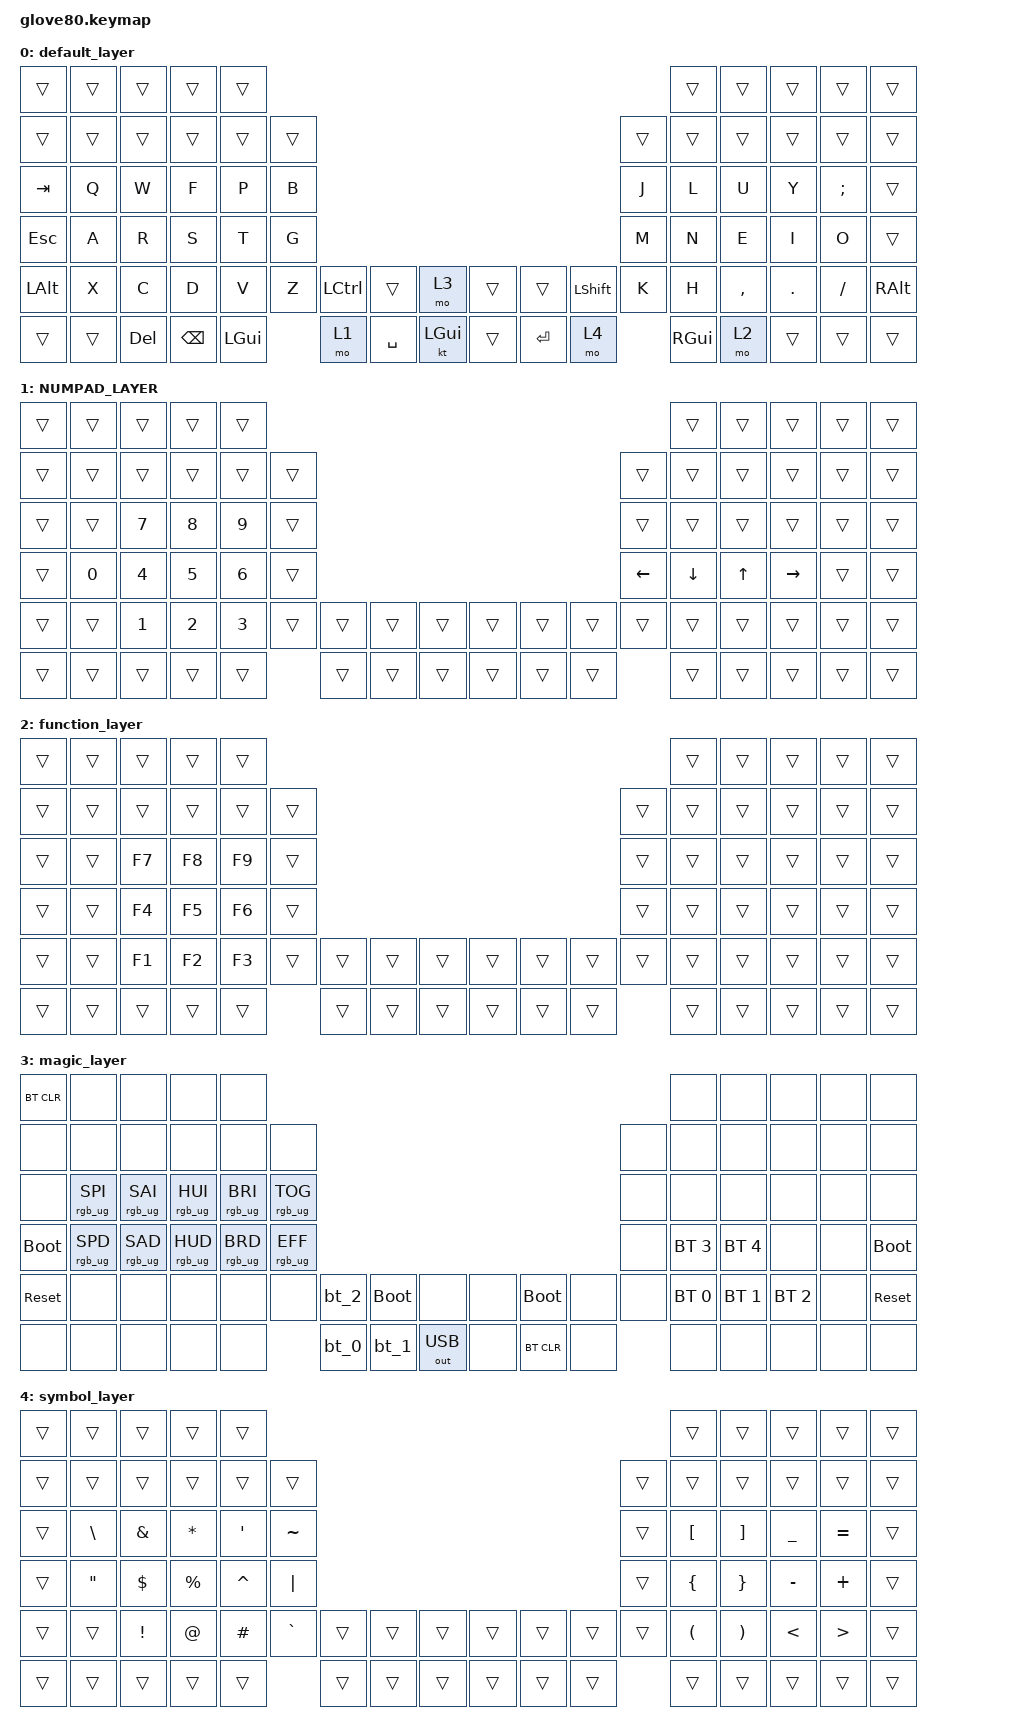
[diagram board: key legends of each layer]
/*
 * Copyright (c) 2020 The ZMK Contributors
 *
 * SPDX-License-Identifier: MIT
 */

#include <behaviors.dtsi>
#include <dt-bindings/zmk/bt.h>
#include <dt-bindings/zmk/keys.h>
#include <dt-bindings/zmk/outputs.h>
#include <dt-bindings/zmk/rgb.h>

// layers

#define DEFAULT 0
#define LOWER 1
#define MAGIC 2

/ {
    behaviors {
        // For the "layer" key, it'd nice to be able to use it as either a shift or a toggle.
        // Configure it as a tap dance, so the first tap (or hold) is a &mo and the second tap is a &to

        layer_td: tap_dance_0 {
            compatible = "zmk,behavior-tap-dance";
            #binding-cells = <0>;
            tapping-term-ms = <200>;
            bindings = <&mo 0>, <&to 0>;
        };

        key_layer_timed: key_layer_timed {
            compatible = "zmk,behavior-hold-tap";
            label = "KEY_LAYER_TIMED";
            bindings = <&mo>, <&kp>;

            #binding-cells = <2>;
            tapping-term-ms = <200>;
            flavor = "tap-preferred";
        };

        key_key_timed: key_key_timed {
            compatible = "zmk,behavior-hold-tap";
            label = "KEY_KEY_TIMED";
            bindings = <&kp>, <&kp>;

            #binding-cells = <2>;
            tapping-term-ms = <200>;
            flavor = "tap-preferred";
        };
    };

    macros {
        bt_0: bt_profile_macro_0 {
            compatible = "zmk,behavior-macro";
            #binding-cells = <0>;
            bindings = <&out OUT_BLE &bt BT_SEL 0>;
        };

        bt_1: bt_profile_macro_1 {
            compatible = "zmk,behavior-macro";
            #binding-cells = <0>;
            bindings = <&out OUT_BLE &bt BT_SEL 1>;
        };

        bt_2: bt_profile_macro_2 {
            compatible = "zmk,behavior-macro";
            #binding-cells = <0>;
            bindings = <&out OUT_BLE &bt BT_SEL 2>;
        };

        bt_3: bt_profile_macro_3 {
            compatible = "zmk,behavior-macro";
            #binding-cells = <0>;
            bindings = <&out OUT_BLE &bt BT_SEL 3>;
        };
    };

    keymap {
        compatible = "zmk,keymap";

        default_layer {
            bindings = <
&trans    &trans  &trans      &trans         &trans                                                                                                    &trans    &trans     &trans   &trans    &trans
&trans    &trans  &trans      &trans         &trans    &trans                                                                                  &trans  &trans    &trans     &trans   &trans    &trans
&kp TAB   &kp Q   &kp W       &kp F          &kp P     &kp B                                                                                   &kp J   &kp L     &kp U      &kp Y    &kp SEMI  &trans
&kp ESC   &kp A   &kp R       &kp S          &kp T     &kp G                                                                                   &kp M   &kp N     &kp E      &kp I    &kp O     &trans
&kp LALT  &kp X   &kp C       &kp D          &kp V     &kp Z   &kp LEFT_CONTROL  &trans     &mo 3           &trans  &trans     &kp LEFT_SHIFT  &kp K   &kp H     &kp COMMA  &kp DOT  &kp FSLH  &kp RALT
&trans    &trans  &kp DELETE  &kp BACKSPACE  &kp LGUI          &mo 1             &kp SPACE  &kt LEFT_GUI    &trans  &kp ENTER  &mo 4                   &kp RGUI  &mo 2      &trans   &trans    &trans
            >;
        };

        NUMPAD_LAYER {
            bindings = <
&trans  &trans  &trans  &trans  &trans                                                                      &trans    &trans  &trans     &trans  &trans
&trans  &trans  &trans  &trans  &trans  &trans                                                    &trans    &trans    &trans  &trans     &trans  &trans
&trans  &trans  &kp N7  &kp N8  &kp N9  &trans                                                    &trans    &trans    &trans  &trans     &trans  &trans
&trans  &kp N0  &kp N4  &kp N5  &kp N6  &trans                                                    &kp LEFT  &kp DOWN  &kp UP  &kp RIGHT  &trans  &trans
&trans  &trans  &kp N1  &kp N2  &kp N3  &trans  &trans  &trans  &trans    &trans  &trans  &trans  &trans    &trans    &trans  &trans     &trans  &trans
&trans  &trans  &trans  &trans  &trans          &trans  &trans  &trans    &trans  &trans  &trans            &trans    &trans  &trans     &trans  &trans
            >;
        };

        function_layer {
            bindings = <
&trans  &trans  &trans  &trans  &trans                                                                    &trans  &trans  &trans  &trans  &trans
&trans  &trans  &trans  &trans  &trans  &trans                                                    &trans  &trans  &trans  &trans  &trans  &trans
&trans  &trans  &kp F7  &kp F8  &kp F9  &trans                                                    &trans  &trans  &trans  &trans  &trans  &trans
&trans  &trans  &kp F4  &kp F5  &kp F6  &trans                                                    &trans  &trans  &trans  &trans  &trans  &trans
&trans  &trans  &kp F1  &kp F2  &kp F3  &trans  &trans  &trans  &trans    &trans  &trans  &trans  &trans  &trans  &trans  &trans  &trans  &trans
&trans  &trans  &trans  &trans  &trans          &trans  &trans  &trans    &trans  &trans  &trans          &trans  &trans  &trans  &trans  &trans
            >;
        };

        magic_layer {
            bindings = <
&bt BT_CLR   &none            &none            &none            &none                                                                                                   &none         &none         &none         &none  &none
&none        &none            &none            &none            &none            &none                                                                           &none  &none         &none         &none         &none  &none
&none        &rgb_ug RGB_SPI  &rgb_ug RGB_SAI  &rgb_ug RGB_HUI  &rgb_ug RGB_BRI  &rgb_ug RGB_TOG                                                                 &none  &none         &none         &none         &none  &none
&bootloader  &rgb_ug RGB_SPD  &rgb_ug RGB_SAD  &rgb_ug RGB_HUD  &rgb_ug RGB_BRD  &rgb_ug RGB_EFF                                                                 &none  &bt BT_SEL 3  &bt BT_SEL 4  &none         &none  &bootloader
&sys_reset   &none            &none            &none            &none            &none            &bt_2  &bootloader  &none           &none  &bootloader  &none  &none  &bt BT_SEL 0  &bt BT_SEL 1  &bt BT_SEL 2  &none  &sys_reset
&none        &none            &none            &none            &none                             &bt_0  &bt_1        &out OUT_USB    &none  &bt BT_CLR   &none         &none         &none         &none         &none  &none
            >;
        };

        symbol_layer {
            bindings = <
&trans  &trans             &trans           &trans        &trans                                                                          &trans                &trans                 &trans          &trans            &trans
&trans  &trans             &trans           &trans        &trans     &trans                                                       &trans  &trans                &trans                 &trans          &trans            &trans
&trans  &kp BACKSLASH      &kp AMPERSAND    &kp ASTERISK  &kp SQT    &kp TILDE                                                    &trans  &kp LEFT_BRACKET      &kp RIGHT_BRACKET      &kp UNDERSCORE  &kp EQUAL         &trans
&trans  &kp DOUBLE_QUOTES  &kp DOLLAR       &kp PERCENT   &kp CARET  &kp PIPE                                                     &trans  &kp LEFT_BRACE        &kp RIGHT_BRACE        &kp MINUS       &kp PLUS          &trans
&trans  &trans             &kp EXCLAMATION  &kp AT_SIGN   &kp HASH   &kp GRAVE  &trans  &trans  &trans    &trans  &trans  &trans  &trans  &kp LEFT_PARENTHESIS  &kp RIGHT_PARENTHESIS  &kp LESS_THAN   &kp GREATER_THAN  &trans
&trans  &trans             &trans           &trans        &trans                &trans  &trans  &trans    &trans  &trans  &trans          &trans                &trans                 &trans          &trans            &trans
            >;
        };
    };
};
